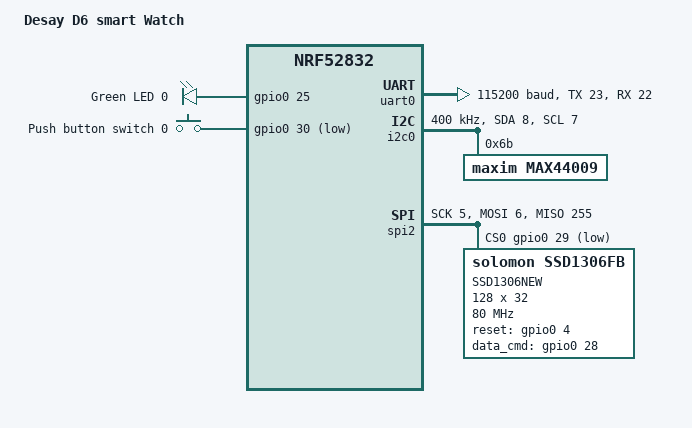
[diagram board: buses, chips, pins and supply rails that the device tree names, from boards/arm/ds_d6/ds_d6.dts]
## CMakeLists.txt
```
# SPDX-License-Identifier: Apache-2.0
#list(APPEND ZEPHYR_EXTRA_MODULES /root/zephyrproject/app/drivers/kscan2)
cmake_minimum_required(VERSION 3.13.1)
list(APPEND ZEPHYR_EXTRA_MODULES
  ${CMAKE_CURRENT_SOURCE_DIR}/drivers
 )


# Add the board
list(APPEND BOARD_ROOT ${CMAKE_CURRENT_LIST_DIR})
#list(APPEND DTS_ROOT ${CMAKE_CURRENT_LIST_DIR}/..)
#add_subdirectory(drivers/kscan2)
# Enable configurations through environment variables
#set(CONF_FILE ${CMAKE_CURRENT_LIST_DIR}/config/prj.conf ${CMAKE_CURRENT_LIST_DIR}/config/bootloader.conf)
#IF("$ENV{BOOTLOADER}" STREQUAL "off")
#  set(CONF_FILE ${CMAKE_CURRENT_LIST_DIR}/config/prj.conf)
#ENDIF()
#IF("$ENV{LOGGING}" STREQUAL "on")
#  set(CONF_FILE ${CONF_FILE} ${CMAKE_CURRENT_LIST_DIR}/config/logging_rtt.conf)
#ENDIF()

find_package(Zephyr REQUIRED HINTS $ENV{ZEPHYR_BASE})
include_directories(include)
project(oswatch)

FILE(GLOB app_sources src/*.c)
target_sources(app PRIVATE ${app_sources})

# Get current time
string(TIMESTAMP CURRENT_TIME %Y-%m-%dT%H:%M:%S)

# Get short commit hash
execute_process(
  COMMAND ${GIT_EXECUTABLE} describe --tags
  WORKING_DIRECTORY ${CMAKE_CURRENT_LIST_DIR}
  OUTPUT_VARIABLE FW_BUILD_GIT
  OUTPUT_STRIP_TRAILING_WHITESPACE
)
set(CMAKE_C_FLAGS "${CMAKE_C_FLAGS} -DCURRENT_TIME_OF_BUILD=\"${CURRENT_TIME}\" -DFW_BUILD=\"${FW_BUILD_GIT}\"")
set(ZEPHYR_BOARD_FLASH_RUNNER jlink)
```

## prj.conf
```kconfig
CONFIG_HEAP_MEM_POOL_SIZE=16384
CONFIG_MAIN_STACK_SIZE=2048

CONFIG_DISPLAY=y
CONFIG_DISPLAY_LOG_LEVEL_ERR=y
#CONFIG_KSCAN=y
CONFIG_LOG=y
CONFIG_LVGL=y
CONFIG_LVGL_USE_LABEL=y
CONFIG_LVGL_USE_CONT=y
CONFIG_LVGL_USE_BTN=y
#CONFIG_LVGL_USE_SLIDER=y
CONFIG_LVGL_USE_IMG=y
CONFIG_LVGL_USE_THEME_MATERIAL=n
#CONFIG_ST7789V=y
CONFIG_LVGL_TXT_ENC_UTF8=y
CONFIG_LVGL_FONT_MONTSERRAT_14=y
CONFIG_LVGL_FONT_UNSCII_8=n
#CONFIG_LVGL_VDB_SIZE=64 
CONFIG_LVGL_VDB_SIZE=2 
CONFIG_USE_SEGGER_RTT=y
CONFIG_LVGL_USE_THEME_MONO=y
CONFIG_LVGL_THEME_DEFAULT_COLOR_PRIMARY_WHITE=y
CONFIG_LVGL_THEME_DEFAULT_COLOR_SECONDARY_BLACK=y
# Time functions
CONFIG_NEWLIB_LIBC=y
CONFIG_LVGL_POINTER_KSCAN=y
#CONFIG_BT=y
#CONFIG_BT_PERIPHERAL=y
#CONFIG_BT_GATT_CLIENT=y
#CONFIG_BT_SETTINGS=y
#CONFIG_SETTINGS_RUNTIME=y
#CONFIG_SETTINGS=y

# Bluetooth
CONFIG_BT=y
CONFIG_BT_PERIPHERAL=y
#CONFIG_BT_GATT_DIS=y
CONFIG_BT_ATT_PREPARE_COUNT=5
#CONFIG_BT_DEVICE_NAME="dsd6"
CONFIG_BT_DEVICE_APPEARANCE=833
CONFIG_BT_DEVICE_NAME_DYNAMIC=y
CONFIG_BT_DEVICE_NAME_MAX=65
CONFIG_BT_GATT_CLIENT=y
# Let DIS information be read from settings
CONFIG_BT_SETTINGS=y
CONFIG_SETTINGS_RUNTIME=y
CONFIG_SETTINGS=y
CONFIG_SETTINGS_NONE=y
```

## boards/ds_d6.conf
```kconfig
CONFIG_HEAP_MEM_POOL_SIZE=16384
CONFIG_MAIN_STACK_SIZE=2048

CONFIG_LVGL_FONT_MONTSERRAT_28=n
CONFIG_LVGL_FONT_MONTSERRAT_14=y

CONFIG_LVGL_USE_LABEL=y
CONFIG_LVGL_USE_CONT=y
CONFIG_LVGL_USE_THEME_MATERIAL=n
CONFIG_LVGL_TXT_ENC_UTF8=y
CONFIG_LVGL_FONT_UNSCII_8=n
CONFIG_LVGL_VDB_SIZE=64
CONFIG_USE_SEGGER_RTT=y
CONFIG_LVGL_USE_THEME_MONO=y
CONFIG_LVGL_THEME_DEFAULT_COLOR_PRIMARY_WHITE=y
CONFIG_LVGL_THEME_DEFAULT_COLOR_SECONDARY_BLACK=y
# Time functions
CONFIG_NEWLIB_LIBC=y
#CONFIG_LVGL_POINTER_KSCAN=y
CONFIG_BT_DEVICE_NAME="dsd6"
```

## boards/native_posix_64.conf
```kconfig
CONFIG_SDL_DISPLAY_DEV_NAME="DISPLAY"
CONFIG_SDL_DISPLAY_X_RES=300
CONFIG_SDL_DISPLAY_Y_RES=140
CONFIG_KSCAN=y
CONFIG_LVGL_POINTER_KSCAN=y
CONFIG_LVGL_POINTER_KSCAN_DEV_NAME="KSCAN"
CONFIG_SDL_POINTER_KSCAN_DEV_NAME="KSCAN"
CONFIG_CONSOLE=y
CONFIG_UART_CONSOLE=y
CONFIG_UART_CONSOLE_ON_DEV_NAME="UART_0"
CONFIG_UART_NATIVE_POSIX_PORT_1_ENABLE=y
CONFIG_UART_NATIVE_POSIX_PORT_1_NAME="UART_1"
CONFIG_SHELL=y
CONFIG_UART_SHELL_ON_DEV_NAME="UART_0"
CONFIG_LVGL_FONT_MONTSERRAT_28=y
CONFIG_LVGL_FONT_MONTSERRAT_14=n

CONFIG_LVGL_USE_LABEL=y
CONFIG_LVGL_USE_CONT=y
CONFIG_LVGL_USE_BTN=y
CONFIG_LVGL_USE_THEME_MATERIAL=n
CONFIG_LVGL_TXT_ENC_UTF8=y
CONFIG_LVGL_FONT_UNSCII_8=n
CONFIG_LVGL_VDB_SIZE=64
CONFIG_USE_SEGGER_RTT=y
CONFIG_LVGL_USE_THEME_MONO=y
CONFIG_LVGL_THEME_DEFAULT_COLOR_PRIMARY_WHITE=y
CONFIG_LVGL_THEME_DEFAULT_COLOR_SECONDARY_BLACK=y
# Time functions
#CONFIG_NEWLIB_LIBC=y
CONFIG_LVGL_POINTER_KSCAN=y
```

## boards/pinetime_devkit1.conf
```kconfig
CONFIG_ST7789V=y
CONFIG_LVGL_FONT_MONTSERRAT_28=y
CONFIG_LVGL_FONT_MONTSERRAT_14=n
CONFIG_LVGL_DISPLAY_DEV_NAME="ST7789V"
CONFIG_BT_DEVICE_NAME="pinetime-devkit1"
```

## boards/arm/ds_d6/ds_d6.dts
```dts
/*
* Copyright (c) 2019 Nordic Semiconductor ASA
*
* SPDX-License-Identifier: LicenseRef-BSD-5-Clause-Nordic
*/

/dts-v1/;
#include <nordic/nrf52832_qfaa.dtsi>

/ {
model = "Desay D6 smart Watch";
compatible = "nordic, nrf52832";

chosen {
	zephyr,console = &uart0;
	zephyr,shell-uart = &uart0;
	zephyr,uart-mcumgr = &uart0;
	zephyr,bt-mon-uart = &uart0;
	zephyr,bt-c2h-uart = &uart0;

	zephyr,sram = &sram0;
	zephyr,flash = &flash0;
	zephyr,code-partition = &slot0_partition;
};
leds    {
	compatible = "gpio-leds";
                led0_green: led_0 {
/*pin 25 is the motor*/
                       gpios = <&gpio0 25 GPIO_ACTIVE_HIGH>; //this is heart rate sensor led
                       label = "Green LED 0";
	//	       default-state = "on";
                };

        };


	buttons {
		compatible = "gpio-keys";
		button0: button_0 {
			gpios = <&gpio0 30 (GPIO_PULL_UP | GPIO_ACTIVE_LOW)>;
			label = "Push button switch 0";
		};
	};

       //heart rate sensor needs power, used this to pretend starting up a power rail 
/*        vdd_pwr: vdd-pwr-ctrl {
		compatible = "regulator-fixed";
                label = "vdd-pwr-ctrl";
                regulator-name = "vdd-pwr-ctrl";
                enable-gpios = <&gpio0 26 GPIO_ACTIVE_HIGH>;
                regulator-boot-on;
        };

*/
	aliases {
		sw0 = &button0;
		led0 = &led0_green;
/*		led2 = &led2_blue;
		led0-green = &led0_green;
		led1-red   = &led1_red;
		led2-blue  = &led2_blue;*/
	};

};

&gpiote {
	status = "okay";
};

&gpio0 {
	status = "okay";
};
&uart0 {
	status = "okay";
	compatible = "nordic,nrf-uart";
	current-speed = <115200>;
	tx-pin = <23>;
	rx-pin = <22>;
};

&i2c0 {
	compatible = "nordic,nrf-twi";
	status = "okay";
	sda-pin = <8>;
	scl-pin = <7>;
	clock-frequency = <I2C_BITRATE_FAST>;
//	clock-frequency = <400000>;
	max44009@6b {
		//power-gpios = <&gpio0 26 1>;
		compatible = "maxim,max44009";
		reg=<0x6b>;
		label="MAX44009";
        //        vin-supply = <&vdd_pwr>; //heart rate controller needs power first
	};
};

/*
&i2c1 {
	compatible = "nordic,nrf-twi";
	status = "okay";
	sda-pin = <14>;
	scl-pin = <13>;
	clock-frequency = <100000>;
	BME280@1f {
		compatible = "bosch,bme280";
		reg=<0x1f>;
		label="BME280";
	};
};


*/

&flash0 {
	/*
	 * For more information, see:
	 * http://docs.zephyrproject.org/latest/guides/dts/index.html#flash-partitions
	 */
	partitions {
		compatible = "fixed-partitions";
		#address-cells = <1>;
		#size-cells = <1>;

		boot_partition: partition@0 {
			label = "mcuboot";
			reg = <0x00000000 0x0000C000>;
		};
		slot0_partition: partition@c000 {
			label = "image-0";
			reg = <0x0000C000 0x00032000>;
		};
		slot1_partition: partition@3e000 {
			label = "image-1";
			reg = <0x0003e000 0x00032000>;
		};
		scratch_partition: partition@70000 {
			label = "image-scratch";
			reg = <0x00070000 0x0000a000>;
		};
		storage_partition: partition@7a000 {
			label = "storage";
			reg = <0x0007a000 0x00006000>;
		};
	};
};


&spi2 {
        compatible = "nordic,nrf-spi";
        status = "okay";
        sck-pin = <5>;
        mosi-pin = <6>;
        miso-pin = <0xFF>;
       // cs-gpios = <&gpio0 29 (GPIO_ACTIVE_LOW)>;
        cs-gpios = <&gpio0 29 (GPIO_ACTIVE_LOW)>;
        ssd1306new@0 {
                compatible = "solomon,ssd1306fb";
        	spi-max-frequency = <80000000>; 
                label = "SSD1306NEW";
                reg = <0>;
		segment-offset = <0>;
		page-offset = <0>;
		display-offset = <0>; 
		multiplex-ratio = <31>;
		height = <32>;
		width = <128>;
		segment-remap;
//		com-invdir;
//alternative 0x12		com-sequential;
		prechargep = <0xF1>;
		reset-gpios = <&gpio0 4 0>;
                data_cmd-gpios = <&gpio0 28 0>;
        };
};
```

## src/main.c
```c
/*

 * Copyright (c) 2021 <najnesnaj@yahoo.com>
 *
 * SPDX-License-Identifier: Apache-2.0
 */

#include <device.h>
#include <drivers/display.h>
#include <drivers/gpio.h>
#include <lvgl.h>
#include <stdio.h>
#include <string.h>
#include <zephyr.h>
#include "clock.h"
#include "log.h"
#include "display.h"
#include "event_handler.h"
#include "bt.h"


void main(void)
{
#if !(defined(CONFIG_BOARD_NATIVE_POSIX_64BIT)) //both the pinetime & ds_d6 have a real button 
	{
		init_button();
	}
#endif
	display_init();
	clock_init();
	event_handler_init();
        bt_init();
	while (1) {
		lv_task_handler();
		k_sleep(K_MSEC(100));
	}
}
```

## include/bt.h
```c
#ifndef BT__H
#define BT__H

#include <stdbool.h>

void bt_init(void);

#endif /* BT__H */
```

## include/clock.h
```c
/*
 * Copyright (c) 2020 Endian Technologies AB
 *
 * SPDX-License-Identifier: Apache-2.0
 */

#ifndef CLOCK__H
#define CLOCK__H

#include <cts_sync.h>

void clock_init(void);
void clock_increment_local_time(void);
void clock_sync_time(cts_datetime_t *cts);
void clock_show_time(void);
#endif /* CLOCK__H */
```

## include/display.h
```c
/*
 *   display.h
 */
#ifndef __DISPLAY_H
#define __DISPLAY_H
#include "buttons.h"
/*---------------------------------------------------------------------------*/
/*                                                                           */
/*---------------------------------------------------------------------------*/
int  display_init(void);
void display_time_set_label(char *str);
void display_date_set_label(char *str);
void display_btn_event(buttons_id_t btn_id);
//void display_sleep();
void display_clock_update();
void display_connect_event(void);
void display_disconnect_event(void);
//void backlight_switch(bool)
#endif  /* __DISPLAY_H */
```

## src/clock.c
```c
/*
 * Copyright (c) 2021 najnesnaj@yahoo.com
 *
 * SPDX-License-Identifier: Apache-2.0
 */

#include <zephyr.h>
#include <time.h>
#include <stdio.h>
#include <stdlib.h>
#include <zephyr/types.h>
#include "battery.h"
#include "bt.h"
#include "version.h"
#include "cts_sync.h"
#include "log.h"
#include "event_handler.h"
#include "display.h"

/* ********** ********** VARIABLES ********** ********** */
static char time_label_str[32];
static char date_label_str[32];
typedef unsigned long long  u64_t;

static u64_t uptime_ms;
static u64_t last_uptime_ms;
static u64_t elapsed_ms;

static struct tm ti = {
	.tm_sec = 0,
	.tm_min = 0,
	.tm_hour = 0,
	.tm_mday = 0,
	.tm_mon = 0,
	.tm_year = 0,
	.tm_wday = 0,
};

/* ********** ********** FUNCTIONS *********** ********** */
void clock_str_to_local_time(const char *str)
{
	if (sscanf(str, "%d-%d-%dT%d:%d:%d", &ti.tm_year, &ti.tm_mon,
		   &ti.tm_mday, &ti.tm_hour, &ti.tm_min, &ti.tm_sec) != 6) {
		LOG_ERR("Failed to parse time of build.");
	}
	ti.tm_year-=1900;
	ti.tm_mon-=1;
	mktime(&ti);
}

void clock_init()
{
	/* Set time to time of build */
	clock_str_to_local_time(TIME_OF_BUILD);
	LOG_DBG("Time set to time of build");
	LOG_DBG("Clock init: Done");
}

void clock_update_elapsed_ms()
{
	uptime_ms = k_uptime_get();
	elapsed_ms = uptime_ms - last_uptime_ms;
	last_uptime_ms = uptime_ms;
	LOG_INF("Clock updated: "); //jj
}

/* Called by cts sync */
void clock_sync_time(cts_datetime_t *cts)
{
	ti.tm_year = cts->year -1900;
	ti.tm_mon = cts->month -1;
	ti.tm_mday = cts->day;
	ti.tm_hour = cts->hours;
	ti.tm_min = cts->minutes;
	ti.tm_sec = cts->seconds;
	mktime(&ti);
	clock_update_elapsed_ms();
}

/* Called by event handler */
void clock_increment_local_time()
{
	clock_update_elapsed_ms();
	ti.tm_sec += elapsed_ms / 1000;
	mktime(&ti);
}

void clock_show_time()
{
	strftime(time_label_str, 32, "%H:%M", &ti);
	strftime(date_label_str, 32, "%a %d %b", &ti);
	display_time_set_label(time_label_str);
	display_date_set_label(date_label_str);
}
```

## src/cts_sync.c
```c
/*
 * Copyright (c) 2020 Dejvino
 * Copyright (c) 2020 Endian Technologies AB
 * Copyright (c) 2020 max00
 * Copyright (c) 2021 Najnesnaj 
 *
 * SPDX-License-Identifier: Apache-2.0
 */

#include <bluetooth/bluetooth.h>
#include <bluetooth/hci.h>
#include <bluetooth/conn.h>
#include <bluetooth/uuid.h>
#include <bluetooth/gatt.h>
#include <zephyr/types.h>
#include <time.h>
#include "log.h"
#include "cts_sync.h"
#include "clock.h"

/* ********** Definitions ********** */
#define CTS_SYNC_INTERVAL K_SECONDS(60)

/* ********** Function prototypes ********** */
static void cts_sync_timer_timeout_handler(struct k_timer *);
static void cts_sync_processor(struct bt_conn *, void *);

/* ********** Variables ********** */
static struct k_timer m_cts_sync_timer;
static struct bt_gatt_discover_params cts_discovery_params;
static struct bt_uuid_16 uuid = BT_UUID_INIT_16(0);
static struct bt_gatt_read_params read_params;
cts_datetime_t clock_datetime;
static struct {
	int offset;
	cts_datetime_t datetime;
} m_read_buf;

/* ********** Functions ********** */
void cts_sync_init()
{
	LOG_INF("CTS sync init\n");
	k_timer_init(&m_cts_sync_timer, cts_sync_timer_timeout_handler, NULL);
}

void cts_sync_enable(bool enable)
{
	if (enable) {
		k_timer_start(&m_cts_sync_timer, K_NO_WAIT, CTS_SYNC_INTERVAL);
	} else {
		k_timer_stop(&m_cts_sync_timer);
	}
}

static void sync_cts_to_clock(cts_datetime_t* cts_datetime)
{
	if (cts_datetime->year + cts_datetime->day + cts_datetime->hours
	    + cts_datetime->minutes + cts_datetime->seconds == 0) {
		LOG_WRN("Ignoring suspicious time data from companion application.");
		return;
	}

	LOG_INF("CTS sync to clock started.\n Y%04d D%03d T%2d:%2d:%2d",
		cts_datetime->year, cts_datetime->day,
		cts_datetime->hours, cts_datetime->minutes, cts_datetime->seconds);

	memcpy(&clock_datetime, cts_datetime, sizeof(clock_datetime));
	clock_sync_time(cts_datetime);
	LOG_INF("CTS sync to clock complete.");
}

void cts_update_datetime(struct tm *t)
{
	t->tm_year = clock_datetime.year -1900;
	t->tm_mon = clock_datetime.month -1;
	t->tm_mday = clock_datetime.day;
	t->tm_hour = clock_datetime.hours;
	t->tm_min = clock_datetime.minutes;
	t->tm_sec = clock_datetime.seconds;
}

static void cts_sync_timer_timeout_handler(struct k_timer *tmr)
{
	bt_conn_foreach(BT_CONN_TYPE_LE, cts_sync_processor, NULL);
}

uint8_t cts_sync_read(struct bt_conn *conn, uint8_t err,
				    struct bt_gatt_read_params *params,
				    //const void *data, u16_t length)
				    const void *data, uint16_t length)
{
	LOG_DBG("Reading CCC data: err %d, %d bytes, offset %d.", err, length, m_read_buf.offset);

	if (!data || length <= 0) {
		sync_cts_to_clock(&m_read_buf.datetime);
		return BT_GATT_ITER_STOP;
	}

	memcpy(&m_read_buf.datetime + m_read_buf.offset, data, length);
	m_read_buf.offset += length;

	return BT_GATT_ITER_CONTINUE;
}

uint8_t cts_sync_service_discovered(struct bt_conn* conn, const struct bt_gatt_attr* attr,
        struct bt_gatt_discover_params* params)
{
	if (!attr) {
		LOG_INF("CTS Service Discovery completed");
		return BT_GATT_ITER_STOP;
	}
	LOG_DBG("Discovered attribute, handle: %u", attr->handle);

	memset(&read_params, 0, sizeof(read_params));
	read_params.func = cts_sync_read;
	read_params.by_uuid.uuid = (struct bt_uuid *) &uuid;
	read_params.by_uuid.start_handle = attr->handle;
	read_params.by_uuid.end_handle = 0xffff;
	m_read_buf.offset = 0;
	if (bt_gatt_read(conn, &read_params) < 0) {
		LOG_DBG("Could not initiate read of CCC data.");
	}

	return BT_GATT_ITER_STOP;
}

static void cts_sync_processor(struct bt_conn *conn, void *data)
{
	memcpy(&uuid, BT_UUID_CTS_CURRENT_TIME, sizeof(uuid));
	cts_discovery_params.func = cts_sync_service_discovered;
	cts_discovery_params.start_handle = 0x0001;
	cts_discovery_params.end_handle = 0xFFFF;
	cts_discovery_params.type = BT_GATT_DISCOVER_CHARACTERISTIC;
	cts_discovery_params.uuid = (struct bt_uuid *) &uuid;

	if (bt_gatt_discover(conn, &cts_discovery_params) != 0) {
		LOG_ERR("CTS Sync > GATT discovery FAILED.");
	}
}
```

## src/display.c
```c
/*
 * Copyright (c) 2021 <najnesnaj@yahoo.com>
 *
 * SPDX-License-Identifier: Apache-2.0
 */

#include <device.h>
#include <drivers/display.h>
#include <drivers/gpio.h>
#include <lvgl.h>
#include <stdio.h>
#include <string.h>
#include <zephyr.h>

#include "display.h"
#include "buttons.h"
#include "clock.h"
#include <logging/log.h>
LOG_MODULE_REGISTER(display, 3);

const static struct device * display_dev;

#define SCREEN_ID_0    0
#define SCREEN_ID_1    1
#define SCREEN_ID_2    2
#define SCREEN_ID_3    3
//#define SCREEN_COUNT   4 //jj CTS screen is last one - not selectable by scrolling
#define SCREEN_COUNT   3


enum battery_symbol {
	BAT_CHARGE,
	BAT_FULL,
	BAT_3,
	BAT_2,
	BAT_1,
	BAT_EMPTY
};


typedef struct {
	lv_obj_t * screen;
	int        count;
} screens_t;

/*---------------------------------------------------------------------------*/

static lv_obj_t   * button_obj;
static lv_obj_t   * screen0_label0_obj;
static lv_obj_t *time_label;
static lv_obj_t *date_label;
static lv_obj_t *title_label;
static lv_obj_t *battery_label;
static lv_obj_t *date_label;




static lv_obj_t   * screen1_label0_obj; 
static lv_obj_t   * screen1_label1_obj; 

static lv_obj_t   * screen2_label0_obj; 
static lv_obj_t   * screen2_label1_obj; 
static lv_obj_t   * screen2_label2_obj; 

static screens_t screens [] = {
	{ .screen = NULL, .count = 1 },
	{ .screen = NULL, .count = 2 },
	{ .screen = NULL, .count = 3 },
	{ .screen = NULL, .count = 0 },
};
#define SCREENS_COUNT (sizeof(screens)/sizeof(screens[0]))

/*---------------------------------------------------------------------------*/
/*                                                                           */
/*---------------------------------------------------------------------------*/
void display_time_set_label(char *str)
{
	//	lv_scr_load(screens[0].screen);

	lv_label_set_text(time_label, str);
}
void display_date_set_label(char *str)
{
	//	lv_scr_load(screens[0].screen);

	lv_label_set_text(date_label, str);
}








void display_clock_update() // jj the clock apears in the first screen only 
{
	//	lv_scr_load(screens[0].screen);
}

/*---------------------------------------------------------------------------*/
/*        todo                                                               */
/*        kscan_touch works for pinetime                                     */
/*        have not found a way to do this out of tree                        */
/*        some minor modification of the focaltech driver is needed          */
/*---------------------------------------------------------------------------*/

#if defined(CONFIG_LVGL_POINTER_KSCAN) 


static void button_event_cb(lv_obj_t * obj, lv_event_t event)
{
	static int screen_id = 0;  // init to first screen id
	static int param_id  = 0;  // init to first parameter index

	switch(event) {
		case LV_EVENT_PRESSED:
			break; 
		case LV_EVENT_SHORT_CLICKED:
			LOG_INF("Short clicked\n");
			break;

		case LV_EVENT_CLICKED:
			clock_increment_local_time();

			LOG_INF("Clicked\n");
			break;

		case LV_EVENT_LONG_PRESSED:
			clock_increment_local_time();
			clock_show_time();
			LOG_INF("Long press\n");
			break;

		case LV_EVENT_LONG_PRESSED_REPEAT:

			//this can be configured in menuconfig 
			//standard value < long_pressed
			screen_id++;
			if (screen_id >= SCREEN_COUNT)
				screen_id = 0;
			lv_scr_load(screens[screen_id].screen);
			param_id = 0;
			LOG_INF("BTN1: screen_id(%d)", screen_id);
			//   handle_button_event();



			LOG_INF("Long press repeat\n");
			break;

		case LV_EVENT_RELEASED:
			LOG_INF("Released\n");
			break;
	}

}
#endif
/*---------------------------------------------------------------------------*/
/*                                                                           */
/*---------------------------------------------------------------------------*/
//todo if no touch screen define real button ds_d6




void display_battery(enum battery_symbol s)
{
	switch (s) {
		case BAT_CHARGE:
			lv_label_set_text(battery_label, LV_SYMBOL_CHARGE);
			break;
		case BAT_FULL:
			lv_label_set_text(battery_label, LV_SYMBOL_BATTERY_FULL);
			break;
		case BAT_3:
			lv_label_set_text(battery_label, LV_SYMBOL_BATTERY_3);
			break;
		case BAT_2:
			lv_label_set_text(battery_label, LV_SYMBOL_BATTERY_2);
			break;
		case BAT_1:
			lv_label_set_text(battery_label, LV_SYMBOL_BATTERY_1);
			break;
		default:
			lv_label_set_text(battery_label, LV_SYMBOL_BATTERY_EMPTY);
	}
}






void display_button()
{
	/* the ds_d6 has a real button and no touchscreen, so no need for lvgl-button */
#if defined(CONFIG_LVGL_POINTER_KSCAN)
	//#if defined(CONFIG_BOARD_NATIVE_POSIX_64BIT)
	button_obj = lv_btn_create(lv_scr_act(), NULL);
	lv_obj_set_width(button_obj, 5);
	lv_obj_set_height(button_obj, 5);
	//lv_obj_align(button_obj, NULL, LV_ALIGN_CENTER, 128, 0);
	lv_obj_align(button_obj, NULL, LV_ALIGN_CENTER, 0, 0);
	lv_btn_set_fit(button_obj, LV_FIT_TIGHT);
	screen0_label0_obj = lv_label_create(button_obj, NULL);
	lv_label_set_text(screen0_label0_obj, "O"); //substitute for real switch on physical watch
	lv_obj_set_event_cb(button_obj, button_event_cb);
#endif

}

void display_connect_event()
{
//	LOG_INF("display_connect_event");
	lv_scr_load(screens[3].screen); //display the CTS screen
//	lv_task_handler();//jj

}

void display_disconnect_event()
{
	lv_scr_load(screens[0].screen); //display the first screen
}



void display_btn_event(buttons_id_t btn_id)
{
	static int screen_id = 0;  // init to first screen id
	static int param_id  = 0;  // init to first parameter index

	//LOG_INF("%s: BTN%d", __func__, btn_id);

	switch (btn_id) {

		case BTN1_LONG:
			screen_id++;
			if (screen_id >= SCREEN_COUNT)
				screen_id = 0;
			lv_scr_load(screens[screen_id].screen);
			param_id = 0;
			LOG_INF("BTN1: screen_id(%d)", screen_id);
			break;

		case BTN1_SHORT:
			param_id++;
			if (param_id >= screens[screen_id].count)  param_id = 0;
			if (param_id < 0)                          param_id = 0;
			LOG_INF("BTN2: screen_id(%d) param_id(%d)", screen_id, param_id);
			break;


		default:
			break;
	}
}

/*---------------------------------------------------------------------------*/
/*                                                                           */
/*---------------------------------------------------------------------------*/
void display_screens_init(void)
{
	screens[0].screen = lv_obj_create(NULL, NULL);
	screens[1].screen = lv_obj_create(NULL, NULL);
	screens[2].screen = lv_obj_create(NULL, NULL);
	screens[3].screen = lv_obj_create(NULL, NULL);

	// lv_theme_t * mono = lv_theme_mono_init(0, NULL);
	// lv_theme_set_current(mono);

	/*
	 *  build basic screen0
	 */
	lv_scr_load(screens[0].screen);
	lv_obj_t * screen0_label = lv_label_create(lv_scr_act(), NULL);
	lv_label_set_text(screen0_label, "Pg1");
	lv_obj_align(screen0_label, screens[0].screen, LV_ALIGN_IN_TOP_RIGHT, 0, 0);
	/* the ds_d6 has a real button and no touchscreen, so no need for lvgl-button */
	display_button();

	/* Time label */
	time_label = lv_label_create(lv_scr_act(), NULL);
	lv_obj_align(time_label, NULL, LV_ALIGN_IN_TOP_MID, 0, 0); //jj
	lv_label_set_text(time_label, "00:00");
	/* Date label */
	date_label = lv_label_create(lv_scr_act(), NULL);
	lv_obj_align(date_label, NULL, LV_ALIGN_IN_BOTTOM_MID, 0, 0);
	lv_label_set_text(date_label, "Mon 10 Jan");

	/* title label */
	title_label = lv_label_create(lv_scr_act(), NULL);
	lv_obj_align(title_label, NULL, LV_ALIGN_IN_TOP_LEFT, 0, 0);
	//lv_label_set_text(title_label, LV_SYMBOL_BLUETOOTH"symb");
	//lv_label_set_text(title_label, LV_SYMBOL_BLUETOOTH);
	lv_label_set_text(title_label, LV_SYMBOL_WIFI);

	/* Battery label */
	//display_battery(3);
	battery_label = lv_label_create(lv_scr_act(), NULL);
	display_battery(BAT_3); //todo just demo value -- need real level
	//lv_label_set_text(battery_label, LV_SYMBOL_BATTERY_2);
	lv_obj_align(battery_label, NULL, LV_ALIGN_IN_BOTTOM_LEFT, 0, 0);

	//battery_label = lv_label_create(lv_scr_act(), NULL);
	//lv_obj_align(battery_label, NULL, LV_ALIGN_IN_TOP_MID, 0, 0);
	//lv_label_set_text(battery_label, LV_SYMBOL_BATTERY_EMPTY);


	//	lv_obj_t * mask = lv_img_create(lv_scr_act(), NULL);
	//	lv_img_set_src(mask, &mask);
	//	lv_obj_align(mask, NULL, LV_ALIGN_CENTER, 0, 0);


	//  hello_world_label = lv_label_create(hello_world_button, NULL);
	// printf("pointer enabled\n");
	// lv_label_set_text(hello_world_label, "O"); //substitute for real switch on physical watch
	//screen0_slider_obj = lv_slider_create(lv_scr_act(), NULL);
	//lv_obj_set_height(screen0_slider_obj, 10);
	//lv_obj_set_width(screen0_slider_obj, 110);
	//lv_obj_align(screen0_slider_obj, NULL, LV_ALIGN_CENTER, 0, 0);
	//lv_slider_set_value(screen0_slider_obj, 15, LV_ANIM_ON);
	//screen0_slider_value = 15;

	/*
	 *  build basic screen1
	 */
	lv_scr_load(screens[1].screen);
	lv_obj_t * screen1_page = lv_label_create(lv_scr_act(), NULL);
	lv_label_set_text(screen1_page, "Pg2");
	lv_obj_align(screen1_page, screens[1].screen, LV_ALIGN_IN_TOP_RIGHT, 0, 0);

	// to avoid creating the same button all over again jj
	display_button();

	screen1_label0_obj = lv_label_create(lv_scr_act(), NULL);
	lv_label_set_text(screen1_label0_obj, "0");
	lv_obj_align(screen1_label0_obj, screens[1].screen, LV_ALIGN_IN_BOTTOM_LEFT, 5, -5);

	screen1_label1_obj = lv_label_create(lv_scr_act(), NULL);
	lv_label_set_text(screen1_label1_obj, "0");
	lv_obj_align(screen1_label1_obj, screens[1].screen, LV_ALIGN_IN_BOTTOM_RIGHT, -15, -5);

	//	lv_obj_t * icon_1 = lv_img_create(lv_scr_act(), NULL);
	//	lv_img_set_src(icon_1, &icon1);
	//	lv_obj_align(icon_1, NULL, LV_ALIGN_CENTER, 0, 0);

	/*
	 *  build basic screen2
	 */
	lv_scr_load(screens[2].screen);
	lv_obj_t * screen2_page = lv_label_create(lv_scr_act(), NULL);
	lv_label_set_text(screen2_page, "Pg3");
	lv_obj_align(screen2_page, screens[2].screen, LV_ALIGN_IN_TOP_RIGHT, 0, 0);
	// why define the same button all over again? jj
	display_button();

	//
	lv_obj_t * screen2_label0_tag = lv_label_create(lv_scr_act(), NULL);
	lv_label_set_text(screen2_label0_tag, "value-0");
	lv_obj_align(screen2_label0_tag, screens[2].screen, LV_ALIGN_IN_TOP_RIGHT, -70, 2);

	screen2_label0_obj = lv_label_create(lv_scr_act(), NULL);
	lv_label_set_text(screen2_label0_obj, "0");
	lv_obj_align(screen2_label0_obj, screens[2].screen, LV_ALIGN_IN_TOP_RIGHT, -45, 2);

	//
	lv_obj_t * screen2_label1_tag = lv_label_create(lv_scr_act(), NULL);
	lv_label_set_text(screen2_label1_tag, "value-1");
	lv_obj_align(screen2_label1_tag, screens[2].screen, LV_ALIGN_IN_RIGHT_MID, -70, 0);

	screen2_label1_obj = lv_label_create(lv_scr_act(), NULL);
	lv_label_set_text(screen2_label1_obj, "0");
	lv_obj_align(screen2_label1_obj, screens[2].screen, LV_ALIGN_IN_RIGHT_MID, -45, 0);

	//
	lv_obj_t * screen2_value2_tag = lv_label_create(lv_scr_act(), NULL);
	lv_label_set_text(screen2_value2_tag, "value-2");
	lv_obj_align(screen2_value2_tag, screens[2].screen, LV_ALIGN_IN_BOTTOM_RIGHT, -70, -2);

	screen2_label2_obj = lv_label_create(lv_scr_act(), NULL);
	lv_label_set_text(screen2_label2_obj, "0");
	lv_obj_align(screen2_label2_obj, screens[2].screen, LV_ALIGN_IN_BOTTOM_RIGHT, -45, -2);

	//#if 0
	//	lv_obj_t * icon_2 = lv_img_create(lv_scr_act(), NULL);
	//	lv_img_set_src(icon_2, &icon2);
	//#endif

	/*
	 *  build basic screen3 -- displayed on CTS update
	 */
	lv_scr_load(screens[3].screen);
	lv_obj_t * screen3_page = lv_label_create(lv_scr_act(), NULL);
	lv_label_set_text(screen3_page, "CTS");
	lv_obj_align(screen3_page, screens[3].screen, LV_ALIGN_IN_TOP_RIGHT, 0, 0);

	/* Bluetooth label */
	title_label = lv_label_create(lv_scr_act(), NULL);
	lv_obj_align(title_label, NULL, LV_ALIGN_IN_TOP_LEFT, 0, 0);
	lv_label_set_text(title_label, LV_SYMBOL_BLUETOOTH);



	// why define the same button all over again? jj
	display_button();

	//	lv_obj_t * icon_3 = lv_img_create(lv_scr_act(), NULL);
	//	lv_img_set_src(icon_3, &icon3);
	//	lv_obj_align(icon_3, NULL, LV_ALIGN_CENTER, 0, 0);
}

/*---------------------------------------------------------------------------*/
/*                                                                           */
/*---------------------------------------------------------------------------*/
#if (defined(CONFIG_BOARD_PINETIME_DEVKIT1) || defined(CONFIG_BOARD_PINETIME_DEVKIT0))


#define LED0_NODE DT_ALIAS(led1)

#if DT_NODE_HAS_STATUS(LED0_NODE, okay)
#define LED0    DT_GPIO_LABEL(LED0_NODE, gpios)
#define PIN     DT_GPIO_PIN(LED0_NODE, gpios)
#define FLAGS   DT_GPIO_FLAGS(LED0_NODE, gpios)
#endif
#endif

static void backlight_switch(bool enable)
{
#if (defined(CONFIG_BOARD_PINETIME_DEVKIT1) || defined(CONFIG_BOARD_PINETIME_DEVKIT0))
	//#if defined(CONFIG_BOARD_PINETIME_DEVKIT1)

	const struct device *dev;

	dev = device_get_binding(LED0);
	/* If you have a backlight, set it up and turn it on here */
	gpio_pin_configure(dev, PIN, GPIO_OUTPUT_ACTIVE | FLAGS);
	//   gpio_pin_configure(dev, LED, GPIO_DIR_OUT);
	if (enable==true) 
		gpio_pin_set(dev, PIN, 1);
	else
		gpio_pin_set(dev, PIN, 0);
	//gpio_pin_write(dev, LED, 0);
#endif
}




int display_init(void)
{
	//#if defined(CONFIG_BOARD_PINETIME_DEVKIT1)
	backlight_switch(true); //jj check which board has backlight is done in procedure
	//#endif
	display_dev = device_get_binding(CONFIG_LVGL_DISPLAY_DEV_NAME);

	if (display_dev == NULL) {
		LOG_ERR("device not found. %s", CONFIG_LVGL_DISPLAY_DEV_NAME);
		return -1;
	}


	display_screens_init();

	/*
	 *  First screen will be screen1
	 */
	lv_scr_load(screens[0].screen);

	/*
	 *  Turn on display
	 */
	lv_task_handler();//jj
	display_blanking_off(display_dev);


	return 0;
};
```

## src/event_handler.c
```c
/*
 * Copyright (c) 2021 najnesnaj@yahoo.com
 *
 * SPDX-License-Identifier: Apache-2.0
 */

#include <zephyr.h>
#include <drivers/gpio.h>
#include <drivers/sensor.h>
#include <stdbool.h>
#include "battery.h"
#include "bt.h"
#include "clock.h"
#include "display.h"
#include "event_handler.h"
#include "log.h"
#include "buttons.h"

/* ********** defines ********** */
#define BAT_CHA 2 //jj
#define BTN_PORT DT_GPIO_LABEL(DT_ALIAS(sw0), gpios)
#define BTN_IN  DT_GPIO_PIN(DT_ALIAS(sw0), gpios)
#define BTN_OUT 3 //jj 
#define EDGE    (GPIO_INT_EDGE | GPIO_INT_DOUBLE_EDGE)
#define PULL_UP DT_GPIO_FLAGS(DT_ALIAS(sw0), gpios)
#define DISPLAY_TIMEOUT K_SECONDS(500) //jj suppose you leave display on -- time should be updated
#define CLOCK_UPDATE K_SECONDS(20) //jj every minute clock should get update 
/* ********** ******* ********** */

/* ********** variables ********** */
static struct k_timer clock_update_timer; //jj

/* ********** ******* ********** */
/* setup buttons **** ********** */
/* ********** ******* ********** */

//when used with the native_posix_64 virtual device there are no buttons ...
#if !(defined(CONFIG_BOARD_NATIVE_POSIX_64BIT))

#define SW0_NODE        DT_ALIAS(sw0)

#if DT_NODE_HAS_STATUS(SW0_NODE, okay)
#define SW0_GPIO_LABEL  DT_GPIO_LABEL(SW0_NODE, gpios)
#define SW0_GPIO_PIN    DT_GPIO_PIN(SW0_NODE, gpios)
#define SW0_GPIO_FLAGS  (GPIO_INPUT | DT_GPIO_FLAGS(SW0_NODE, gpios))
#else
#error "Unsupported board: sw0 devicetree alias is not defined"
#define SW0_GPIO_LABEL  ""
#define SW0_GPIO_PIN    0
#define SW0_GPIO_FLAGS  0
#endif

#if (defined(CONFIG_BOARD_PINETIME_DEVKIT1)||defined(CONFIG_BOARD_PINETIME_DEVKIT0)) //pinetime needs port 15 high for switch to work
#define SW1_NODE        DT_ALIAS(sw1)
#define SW1_GPIO_PIN    DT_GPIO_PIN(SW1_NODE, gpios)
#define SW1_GPIO_FLAGS  (GPIO_OUTPUT | DT_GPIO_FLAGS(SW1_NODE, gpios))
#endif



//todo
//distinction has to made between multiple presses, long press, short press in order to navigate the screen


static uint8_t button_press_cnt;
struct k_timer button_timer;
void button_pressed(const struct device *dev, struct gpio_callback *cb,
		uint32_t pins)
{
	buttons_id_t btn_id;

	LOG_INF("Button pressed at %" PRIu32 "\n", k_cycle_get_32());

	if (button_press_cnt == 0U) {
		k_timer_start(&button_timer, K_SECONDS(1), K_NO_WAIT);
		btn_id=BTN1_SHORT;
	}

	if (k_timer_status_get(&button_timer) > 0) {
		/* timer has expired */
		LOG_INF("SHORT PRESS EVENT %02x\n", button_press_cnt);
		if (button_press_cnt > 2){
			display_btn_event(BTN1_LONG);
		}
		else
			display_btn_event(BTN1_SHORT);
		button_press_cnt=0;
	} else  {
		/* timer still running */
		button_press_cnt++;
		if (button_press_cnt > 2){
			LOG_INF("LONG PRESS EVENT %02x\n", button_press_cnt);
			//      display_btn_event(BTN1_LONG);
		}
	}



}


static struct gpio_callback button_cb_data;

void init_button(void)
{
	const struct device *button;
	int ret;
	button = device_get_binding(SW0_GPIO_LABEL);
	if (button == NULL) {
		printk("Error: didn't find %s device\n", SW0_GPIO_LABEL);
		return;
	}

	ret = gpio_pin_configure(button, SW0_GPIO_PIN, SW0_GPIO_FLAGS);
	if (ret != 0) {
		printk("Error %d: failed to configure %s pin %d\n",
				ret, SW0_GPIO_LABEL, SW0_GPIO_PIN);
		return;
	}

	ret = gpio_pin_interrupt_configure(button,
			SW0_GPIO_PIN,
			GPIO_INT_EDGE_TO_ACTIVE);
	if (ret != 0) {
		printk("Error %d: failed to configure interrupt on %s pin %d\n",
				ret, SW0_GPIO_LABEL, SW0_GPIO_PIN);
		return;
	}
#if (defined(CONFIG_BOARD_PINETIME_DEVKIT1)||defined(CONFIG_BOARD_PINETIME_DEVKIT0)) //pinetime needs port 15 high for switch to work
//#if defined(CONFIG_BOARD_PINETIME_DEVKIT1)
//port 15 has to be high in order for the button to work


        gpio_pin_configure(button, SW1_GPIO_PIN,SW1_GPIO_FLAGS); //push button out
        gpio_pin_set(button, SW1_GPIO_PIN, 1); //set port high



#endif



	gpio_init_callback(&button_cb_data, button_pressed, BIT(SW0_GPIO_PIN));
	gpio_add_callback(button, &button_cb_data);
	printk("Set up button at %s pin %d\n", SW0_GPIO_LABEL, SW0_GPIO_PIN);



}
#endif

//static struct gpio_callback button_cb;

/* ********** ********* ********** */


/* ********** init function ********** */
void event_handler_init()
{

	/* Start timers */
	k_timer_init(&clock_update_timer, handle_clock_update, NULL); //jj
	k_timer_start(&clock_update_timer,CLOCK_UPDATE, K_NO_WAIT); //jj

	clock_show_time();

	LOG_DBG("Event handler init: Done");
}
/* ********** ************ ********** */

/* ********** interrupt handlers ********** */


void button_pressed_isr(const struct device *gpiobtn, struct gpio_callback *cb, uint32_t pins)
{
	//backlight_switch(true);

	handle_button_event();
}

void handle_clock_update(struct k_timer *clock_update) //jj if clock displayed, it should get the updated time
{
printk("handle_clock_update\n");
	clock_increment_local_time();
	clock_show_time();
	display_clock_update(); //multiple screens but clock only appears in 1st
	k_timer_start(clock_update,CLOCK_UPDATE, K_NO_WAIT); //timer gets started again -- perpetuum mobile
}


/* ********** ************** ********** */
int handle_button_event(void)
{
	clock_increment_local_time();
	clock_show_time();
	return 1;
}
```
